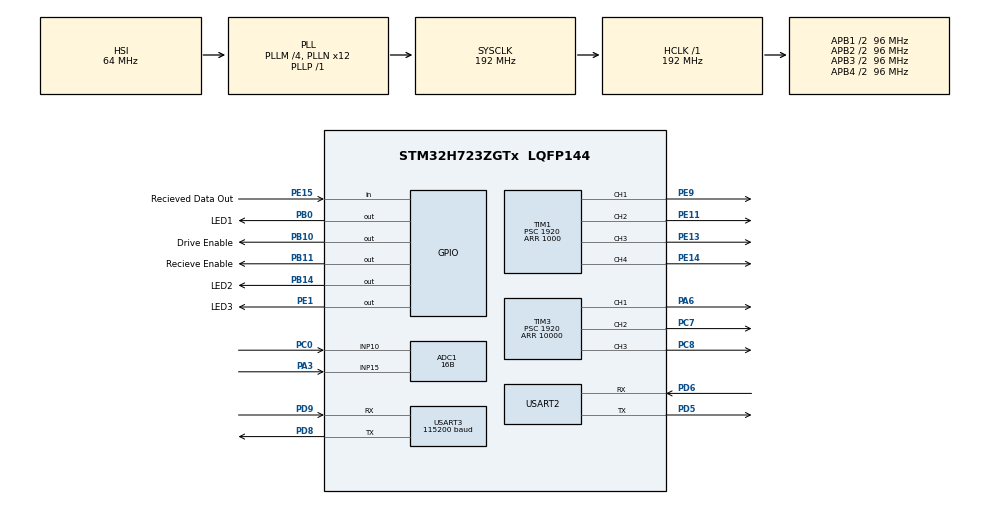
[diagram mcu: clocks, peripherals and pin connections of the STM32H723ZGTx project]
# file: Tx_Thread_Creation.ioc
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ADC1.Channel-4\#ChannelRegularConversion=ADC_CHANNEL_10
ADC1.Channel-5\#ChannelRegularConversion=ADC_CHANNEL_15
ADC1.ContinuousConvMode=DISABLE
ADC1.ConversionDataManagement=ADC_CONVERSIONDATA_DMA_CIRCULAR
ADC1.DiscontinuousConvMode=DISABLE
ADC1.EOCSelection=ADC_EOC_SEQ_CONV
ADC1.EnableRegularConversion=ENABLE
ADC1.ExternalTrigConv=ADC_EXTERNALTRIG_T2_TRGO
ADC1.NbrOfConversion=2
ADC1.NbrOfConversionFlag=1
ADC1.OffsetNumber-4\#ChannelRegularConversion=ADC_OFFSET_NONE
ADC1.OffsetNumber-5\#ChannelRegularConversion=ADC_OFFSET_NONE
ADC1.Overrun=ADC_OVR_DATA_PRESERVED
ADC1.OversamplingMode=DISABLE
ADC1.Rank-4\#ChannelRegularConversion=1
ADC1.Rank-5\#ChannelRegularConversion=2
ADC1.Resolution=ADC_RESOLUTION_16B
ADC1.SamplingTime-4\#ChannelRegularConversion=ADC_SAMPLETIME_64CYCLES_5
ADC1.SamplingTime-5\#ChannelRegularConversion=ADC_SAMPLETIME_64CYCLES_5
ADC1.master=1
CORTEX_M7.AccessPermission_Spec=MPU_REGION_FULL_ACCESS
CORTEX_M7.BaseAddress_Spec=0x38000000
CORTEX_M7.CPU_DCache=Enabled
CORTEX_M7.CPU_ICache=Enabled
CORTEX_M7.Enable_S-Cortex_Memory_Protection_Unit_Region1_Settings_S=__NULL
CORTEX_M7.Enable_Spec=MPU_REGION_ENABLE
CORTEX_M7.IsShareable_Spec=MPU_ACCESS_NOT_SHAREABLE
CORTEX_M7.Size_Spec=MPU_REGION_SIZE_16KB
CORTEX_M7.SubRegionDisable_Spec=0x0
CORTEX_M7.default_mode_Activation=1
Dma.ADC1.0.Direction=DMA_PERIPH_TO_MEMORY
Dma.ADC1.0.EventEnable=DISABLE
Dma.ADC1.0.FIFOMode=DMA_FIFOMODE_DISABLE
Dma.ADC1.0.Instance=DMA1_Stream1
Dma.ADC1.0.MemDataAlignment=DMA_MDATAALIGN_HALFWORD
Dma.ADC1.0.MemInc=DMA_MINC_ENABLE
Dma.ADC1.0.Mode=DMA_CIRCULAR
Dma.ADC1.0.PeriphDataAlignment=DMA_PDATAALIGN_HALFWORD
Dma.ADC1.0.PeriphInc=DMA_PINC_DISABLE
Dma.ADC1.0.Polarity=HAL_DMAMUX_REQ_GEN_RISING
Dma.ADC1.0.Priority=DMA_PRIORITY_LOW
Dma.ADC1.0.RequestNumber=1
Dma.ADC1.0.SignalID=NONE
Dma.ADC1.0.SyncEnable=DISABLE
Dma.ADC1.0.SyncPolarity=HAL_DMAMUX_SYNC_NO_EVENT
Dma.ADC1.0.SyncRequestNumber=1
Dma.ADC1.0.SyncSignalID=NONE
Dma.Request0=ADC1
Mcu.Family=STM32H7
Mcu.Name=STM32H723ZGTx
Mcu.Package=LQFP144
NVIC.DMA1_Stream1_IRQn=true\:0\:0\:false\:false\:true\:false\:false\:true\:true
NVIC.PriorityGroup=NVIC_PRIORITYGROUP_4
NVIC.TIM1_CC_IRQn=true\:0\:0\:false\:false\:true\:false\:true\:true\:true
NVIC.TIM1_TRG_COM_IRQn=true\:0\:0\:false\:false\:true\:false\:true\:true\:true
NVIC.TIM6_DAC_IRQn=true\:15\:0\:false\:false\:true\:false\:false\:true\:true
NVIC.TimeBase=TIM6_DAC_IRQn
NVIC.TimeBaseIP=TIM6
PA3.Signal=ADCx_INP15
PA6.Signal=S_TIM3_CH1
PB0.GPIO_Label=LED1
PB0.GPIO_PuPd=GPIO_NOPULL
PB0.GPIO_Speed=GPIO_SPEED_FREQ_VERY_HIGH
PB0.Signal=GPIO_Output
PB10.GPIO_Label=Drive Enable
PB10.Signal=GPIO_Output
PB11.GPIO_Label=Recieve Enable
PB11.Signal=GPIO_Output
PB14.GPIO_Label=LED2
PB14.GPIO_Speed=GPIO_SPEED_FREQ_VERY_HIGH
PB14.Signal=GPIO_Output
PC0.Signal=ADCx_INP10
PC7.Signal=S_TIM3_CH2
PC8.Signal=S_TIM3_CH3
PD5.Mode=Asynchronous
PD5.Signal=USART2_TX
PD6.Mode=Asynchronous
PD6.Signal=USART2_RX
PD8.Mode=Asynchronous
PD8.Signal=USART3_TX
PD9.GPIO_ModeDefaultPP=GPIO_MODE_AF_PP
PD9.GPIO_PuPd=GPIO_PULLUP
PD9.Mode=Asynchronous
PD9.Signal=USART3_RX
PE1.GPIO_Label=LED3
PE1.Signal=GPIO_Output
PE11.GPIO_PuPd=GPIO_PULLDOWN
PE11.GPIO_Speed=GPIO_SPEED_FREQ_HIGH
PE11.Signal=S_TIM1_CH2
PE13.GPIO_PuPd=GPIO_PULLDOWN
PE13.GPIO_Speed=GPIO_SPEED_FREQ_HIGH
PE13.Signal=S_TIM1_CH3
PE14.Signal=S_TIM1_CH4
PE15.GPIO_Label=Recieved Data Out
PE15.GPIO_PuPd=GPIO_PULLUP
PE15.Signal=GPIO_Input
PE9.GPIO_ModeDefaultPP=GPIO_MODE_AF_PP
PE9.GPIO_PuPd=GPIO_PULLDOWN
PE9.GPIO_Speed=GPIO_SPEED_FREQ_HIGH
PE9.Signal=S_TIM1_CH1
ProjectManager.HeapSize=0x200
ProjectManager.StackSize=0x400
ProjectManager.TargetToolchain=Makefile
RCC.ADCCLockSelection=RCC_ADCCLKSOURCE_PLL3
RCC.ADCFreq_Value=48000000
RCC.APB1Freq_Value=96000000
RCC.APB2Freq_Value=96000000
RCC.APB3Freq_Value=96000000
RCC.APB4Freq_Value=96000000
RCC.CortexFreq_Value=192000000
RCC.D1PPRE=RCC_APB3_DIV2
RCC.D2PPRE1=RCC_APB1_DIV2
RCC.D2PPRE2=RCC_APB2_DIV2
RCC.D3PPRE=RCC_APB4_DIV2
RCC.DIVM1=4
RCC.DIVM2=1
RCC.DIVM3=4
RCC.DIVN1=12
RCC.DIVN2=24
RCC.DIVN3=12
RCC.DIVP1=1
RCC.DIVR3=4
RCC.HCLKFreq_Value=192000000
RCC.HSE_VALUE=8000000
RCC.PLL1_VCO_SEL-AdvancedSettings=RCC_PLL1VCOMEDIUM
RCC.PLL2FRACN=0
RCC.PLL2_VCI_Range-AdvancedSettings=RCC_PLL2VCIRANGE_0
RCC.PLL3FRACN=0
RCC.PLL3_VCO_SEL-AdvancedSettings=RCC_PLL3VCOMEDIUM
RCC.PLLFRACN=0
RCC.SYSCLKFreq_VALUE=192000000
RCC.SYSCLKSource=RCC_SYSCLKSOURCE_PLLCLK
RCC.USBFreq_Value=96000000
SH.ADCx_INP10.0=ADC1_INP10,IN10-Single-Ended
SH.ADCx_INP15.0=ADC1_INP15,IN15-Single-Ended
SH.S_TIM1_CH1.0=TIM1_CH1,PWM Generation1 CH1
SH.S_TIM1_CH2.0=TIM1_CH2,PWM Generation2 CH2
SH.S_TIM1_CH3.0=TIM1_CH3,PWM Generation3 CH3
SH.S_TIM1_CH4.0=TIM1_CH4,PWM Generation4 CH4
SH.S_TIM3_CH1.0=TIM3_CH1,PWM Generation1 CH1
SH.S_TIM3_CH2.0=TIM3_CH2,PWM Generation2 CH2
SH.S_TIM3_CH3.0=TIM3_CH3,PWM Generation3 CH3
STMicroelectronics.X-CUBE-AZRTOS-H7.3.3.0.TX_APP_CREATION=1
STMicroelectronics.X-CUBE-AZRTOS-H7.3.3.0.TX_APP_GENERATE_INIT_CODE=true
STMicroelectronics.X-CUBE-AZRTOS-H7.3.3.0.TX_APP_MEM_POOL_SIZE=2*1024
STMicroelectronics.X-CUBE-AZRTOS-H7.3.3.0.TX_APP_THREAD_ENTRY=MainThread_Entry
STMicroelectronics.X-CUBE-AZRTOS-H7.3.3.0.TX_APP_THREAD_NAME=Main Thread
STMicroelectronics.X-CUBE-AZRTOS-H7.3.3.0.TX_APP_THREAD_PRIO=5
STMicroelectronics.X-CUBE-AZRTOS-H7.3.3.0.TX_DISABLE_PREEMPTION_THRESHOLD=0
STMicroelectronics.X-CUBE-AZRTOS-H7.3.3.0.ThreadXCcRTOSJjThreadXJjCore=true
STMicroelectronics.X-CUBE-AZRTOS-H7.3.3.0_IsAnAzureRtosMw=true
TIM1.AutoReloadPreload=TIM_AUTORELOAD_PRELOAD_ENABLE
TIM1.AutomaticOutput=TIM_AUTOMATICOUTPUT_DISABLE
TIM1.Channel-PWM\ Generation1\ CH1=TIM_CHANNEL_1
TIM1.Channel-PWM\ Generation2\ CH2=TIM_CHANNEL_2
TIM1.Channel-PWM\ Generation3\ CH3=TIM_CHANNEL_3
TIM1.Channel-PWM\ Generation4\ CH4=TIM_CHANNEL_4
TIM1.OCFastMode_PWM-PWM\ Generation1\ CH1=TIM_OCFAST_ENABLE
TIM1.OCIdleState_1=TIM_OCIDLESTATE_SET
TIM1.Period=1000
TIM1.Prescaler=1920
TIM1.Pulse-PWM\ Generation1\ CH1=250
TIM1.Pulse-PWM\ Generation2\ CH2=500
TIM1.Pulse-PWM\ Generation3\ CH3=750
TIM1.Pulse-PWM\ Generation4\ CH4=500
TIM1.TIM_MasterOutputTrigger=TIM_TRGO_RESET
TIM1.TIM_MasterSlaveMode=TIM_MASTERSLAVEMODE_DISABLE
TIM2.Period=1000
TIM2.Prescaler=19200
TIM2.TIM_MasterOutputTrigger=TIM_TRGO_UPDATE
TIM3.Channel-PWM\ Generation1\ CH1=TIM_CHANNEL_1
TIM3.Channel-PWM\ Generation2\ CH2=TIM_CHANNEL_2
TIM3.Channel-PWM\ Generation3\ CH3=TIM_CHANNEL_3
TIM3.Period=10000
TIM3.Prescaler=1920
TIM3.Pulse-PWM\ Generation2\ CH2=1000
USART2.VirtualMode-Asynchronous=VM_ASYNC
USART3.BaudRate=115200
USART3.Parity=PARITY_NONE
USART3.VirtualMode-Asynchronous=VM_ASYNC
VP_MEMORYMAP_VS_MEMORYMAP.Mode=CurAppReg
VP_STMicroelectronics.X-CUBE-AZRTOS-H7_VS_RTOSJjThreadX_6.4.0_3.3.0.Mode=RTOSJjThreadX
VP_SYS_VS_tim6.Mode=TIM6
VP_TIM1_VS_ClockSourceINT.Mode=Internal
VP_TIM2_VS_ClockSourceINT.Mode=Internal
VP_TIM3_VS_ClockSourceINT.Mode=Internal
board=NUCLEO-H723ZG

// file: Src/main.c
/* USER CODE BEGIN Header */
/**
  ******************************************************************************
  * @file    ThreadX/Tx_Thread_Creation/Src/main.c
  * @author  MCD Application Team
  * @brief   Main program body
  ******************************************************************************
  * @attention
  *
  * Copyright (c) 2020-2021 STMicroelectronics.
  * All rights reserved.
  *
  * This software is licensed under terms that can be found in the LICENSE file
  * in the root directory of this software component.
  * If no LICENSE file comes with this software, it is provided AS-IS.
  *
  ******************************************************************************
  */
/* USER CODE END Header */
#include "app_threadx.h"
#include "main.h"

/* USER CODE BEGIN Includes */
#include "tx_api.h"
#include "tasks.h"
#include <stdio.h>
#if defined(__ICCARM__)
#include <LowLevelIOInterface.h>
#endif /* __ICCARM__ */
/* USER CODE END Includes */

/* USER CODE BEGIN PM */

#if defined(__ICCARM__)
/* New definition from EWARM V9, compatible with EWARM8 */
int iar_fputc(int ch);
#define PUTCHAR_PROTOTYPE int iar_fputc(int ch)
#elif defined ( __CC_ARM ) || defined(__ARMCC_VERSION)
/* ARM Compiler 5/6*/
#define PUTCHAR_PROTOTYPE int fputc(int ch, FILE *f)
#elif defined(__GNUC__)
#define PUTCHAR_PROTOTYPE int __io_putchar(int ch)
#endif /* __ICCARM__ */

/* USER CODE END PM */

ADC_HandleTypeDef hadc1;
DMA_HandleTypeDef hdma_adc1;

TIM_HandleTypeDef htim1;
TIM_HandleTypeDef htim2;
TIM_HandleTypeDef htim3;

UART_HandleTypeDef huart2;
UART_HandleTypeDef huart3;

void SystemClock_Config(void);
static void MPU_Config(void);
static void MX_GPIO_Init(void);
static void MX_DMA_Init(void);
static void MX_USART3_UART_Init(void);
static void MX_USART2_UART_Init(void);
static void MX_TIM1_Init(void);
static void MX_ADC1_Init(void);
static void MX_TIM2_Init(void);
static void MX_TIM3_Init(void);
/* USER CODE BEGIN PFP */

TIM_HandleTypeDef* timers[3] = {&htim1, &htim2, &htim3};

void CallMainThread(void) {MainThread(&huart2, &htim1, &hadc1);}
void CallThreadOne(void)  {ServoControl(&hadc1, timers);}
void CallThreadTwo(void)  {ExtraThread();}

/* USER CODE END PFP */

int main(void)
{

  /* MPU Configuration--------------------------------------------------------*/
  MPU_Config();

  /* Enable the CPU Cache */

  /* Enable I-Cache---------------------------------------------------------*/
  SCB_EnableICache();

  /* Enable D-Cache---------------------------------------------------------*/
  SCB_EnableDCache();

  /* MCU Configuration--------------------------------------------------------*/

  /* Reset of all peripherals, Initializes the Flash interface and the Systick. */
  HAL_Init();

  /* Configure the system clock */
  SystemClock_Config();

  /* Initialize all configured peripherals */
  MX_GPIO_Init();
  MX_DMA_Init();
  MX_USART3_UART_Init();
  MX_USART2_UART_Init();
  MX_TIM1_Init();
  MX_ADC1_Init();
  MX_TIM2_Init();
  MX_TIM3_Init();

  MX_ThreadX_Init();

  /* We should never get here as control is now taken by the scheduler */

  /* Infinite loop */
  while (1)
  {

  }
}

void SystemClock_Config(void)
{
  RCC_OscInitTypeDef RCC_OscInitStruct = {0};
  RCC_ClkInitTypeDef RCC_ClkInitStruct = {0};

  /** Supply configuration update enable
  */
  HAL_PWREx_ConfigSupply(PWR_LDO_SUPPLY);

  /** Configure the main internal regulator output voltage
  */
  __HAL_PWR_VOLTAGESCALING_CONFIG(PWR_REGULATOR_VOLTAGE_SCALE1);

  while(!__HAL_PWR_GET_FLAG(PWR_FLAG_VOSRDY)) {}

  /** Initializes the RCC Oscillators according to the specified parameters
  * in the RCC_OscInitTypeDef structure.
  */
  RCC_OscInitStruct.OscillatorType = RCC_OSCILLATORTYPE_HSI;
  RCC_OscInitStruct.HSIState = RCC_HSI_DIV1;
  RCC_OscInitStruct.HSICalibrationValue = 64;
  RCC_OscInitStruct.PLL.PLLState = RCC_PLL_ON;
  RCC_OscInitStruct.PLL.PLLSource = RCC_PLLSOURCE_HSI;
  RCC_OscInitStruct.PLL.PLLM = 4;
  RCC_OscInitStruct.PLL.PLLN = 12;
  RCC_OscInitStruct.PLL.PLLP = 1;
  RCC_OscInitStruct.PLL.PLLQ = 2;
  RCC_OscInitStruct.PLL.PLLR = 2;
  RCC_OscInitStruct.PLL.PLLRGE = RCC_PLL1VCIRANGE_3;
  RCC_OscInitStruct.PLL.PLLVCOSEL = RCC_PLL1VCOWIDE;
  RCC_OscInitStruct.PLL.PLLFRACN = 0;
  if (HAL_RCC_OscConfig(&RCC_OscInitStruct) != HAL_OK)
  {
    Error_Handler();
  }

  /** Initializes the CPU, AHB and APB buses clocks
  */
  RCC_ClkInitStruct.ClockType = RCC_CLOCKTYPE_HCLK|RCC_CLOCKTYPE_SYSCLK
                              |RCC_CLOCKTYPE_PCLK1|RCC_CLOCKTYPE_PCLK2
                              |RCC_CLOCKTYPE_D3PCLK1|RCC_CLOCKTYPE_D1PCLK1;
  RCC_ClkInitStruct.SYSCLKSource = RCC_SYSCLKSOURCE_PLLCLK;
  RCC_ClkInitStruct.SYSCLKDivider = RCC_SYSCLK_DIV1;
  RCC_ClkInitStruct.AHBCLKDivider = RCC_HCLK_DIV1;
  RCC_ClkInitStruct.APB3CLKDivider = RCC_APB3_DIV2;
  RCC_ClkInitStruct.APB1CLKDivider = RCC_APB1_DIV2;
  RCC_ClkInitStruct.APB2CLKDivider = RCC_APB2_DIV2;
  RCC_ClkInitStruct.APB4CLKDivider = RCC_APB4_DIV2;

  if (HAL_RCC_ClockConfig(&RCC_ClkInitStruct, FLASH_LATENCY_2) != HAL_OK)
  {
    Error_Handler();
  }
}

static void MX_ADC1_Init(void)
{

  ADC_MultiModeTypeDef multimode = {0};
  ADC_ChannelConfTypeDef sConfig = {0};

  /** Common config
  */
  hadc1.Instance = ADC1;
  hadc1.Init.ClockPrescaler = ADC_CLOCK_ASYNC_DIV1;
  hadc1.Init.Resolution = ADC_RESOLUTION_16B;
  hadc1.Init.ScanConvMode = ADC_SCAN_ENABLE;
  hadc1.Init.EOCSelection = ADC_EOC_SEQ_CONV;
  hadc1.Init.LowPowerAutoWait = DISABLE;
  hadc1.Init.ContinuousConvMode = DISABLE;
  hadc1.Init.NbrOfConversion = 2;
  hadc1.Init.DiscontinuousConvMode = DISABLE;
  hadc1.Init.ExternalTrigConv = ADC_EXTERNALTRIG_T2_TRGO;
  hadc1.Init.ExternalTrigConvEdge = ADC_EXTERNALTRIGCONVEDGE_RISING;
  hadc1.Init.ConversionDataManagement = ADC_CONVERSIONDATA_DMA_CIRCULAR;
  hadc1.Init.Overrun = ADC_OVR_DATA_PRESERVED;
  hadc1.Init.LeftBitShift = ADC_LEFTBITSHIFT_NONE;
  hadc1.Init.OversamplingMode = DISABLE;
  hadc1.Init.Oversampling.Ratio = 1;
  if (HAL_ADC_Init(&hadc1) != HAL_OK)
  {
    Error_Handler();
  }

  /** Configure the ADC multi-mode
  */
  multimode.Mode = ADC_MODE_INDEPENDENT;
  if (HAL_ADCEx_MultiModeConfigChannel(&hadc1, &multimode) != HAL_OK)
  {
    Error_Handler();
  }

  /** Configure Regular Channel
  */
  sConfig.Channel = ADC_CHANNEL_10;
  sConfig.Rank = ADC_REGULAR_RANK_1;
  sConfig.SamplingTime = ADC_SAMPLETIME_64CYCLES_5;
  sConfig.SingleDiff = ADC_SINGLE_ENDED;
  sConfig.OffsetNumber = ADC_OFFSET_NONE;
  sConfig.Offset = 0;
  sConfig.OffsetSignedSaturation = DISABLE;
  if (HAL_ADC_ConfigChannel(&hadc1, &sConfig) != HAL_OK)
  {
    Error_Handler();
  }

  /** Configure Regular Channel
  */
  sConfig.Channel = ADC_CHANNEL_15;
  sConfig.Rank = ADC_REGULAR_RANK_2;
  if (HAL_ADC_ConfigChannel(&hadc1, &sConfig) != HAL_OK)
  {
    Error_Handler();
  }

}

static void MX_TIM1_Init(void)
{

  TIM_ClockConfigTypeDef sClockSourceConfig = {0};
  TIM_MasterConfigTypeDef sMasterConfig = {0};
  TIM_OC_InitTypeDef sConfigOC = {0};
  TIM_BreakDeadTimeConfigTypeDef sBreakDeadTimeConfig = {0};

  htim1.Instance = TIM1;
  htim1.Init.Prescaler = 1920;
  htim1.Init.CounterMode = TIM_COUNTERMODE_UP;
  htim1.Init.Period = 1000;
  htim1.Init.ClockDivision = TIM_CLOCKDIVISION_DIV1;
  htim1.Init.RepetitionCounter = 0;
  htim1.Init.AutoReloadPreload = TIM_AUTORELOAD_PRELOAD_ENABLE;
  if (HAL_TIM_Base_Init(&htim1) != HAL_OK)
  {
    Error_Handler();
  }
  sClockSourceConfig.ClockSource = TIM_CLOCKSOURCE_INTERNAL;
  if (HAL_TIM_ConfigClockSource(&htim1, &sClockSourceConfig) != HAL_OK)
  {
    Error_Handler();
  }
  if (HAL_TIM_PWM_Init(&htim1) != HAL_OK)
  {
    Error_Handler();
  }
  sMasterConfig.MasterOutputTrigger = TIM_TRGO_RESET;
  sMasterConfig.MasterOutputTrigger2 = TIM_TRGO2_RESET;
  sMasterConfig.MasterSlaveMode = TIM_MASTERSLAVEMODE_DISABLE;
  if (HAL_TIMEx_MasterConfigSynchronization(&htim1, &sMasterConfig) != HAL_OK)
  {
    Error_Handler();
  }
  sConfigOC.OCMode = TIM_OCMODE_PWM1;
  sConfigOC.Pulse = 250;
  sConfigOC.OCPolarity = TIM_OCPOLARITY_HIGH;
  sConfigOC.OCNPolarity = TIM_OCNPOLARITY_HIGH;
  sConfigOC.OCFastMode = TIM_OCFAST_ENABLE;
  sConfigOC.OCIdleState = TIM_OCIDLESTATE_SET;
  sConfigOC.OCNIdleState = TIM_OCNIDLESTATE_RESET;
  if (HAL_TIM_PWM_ConfigChannel(&htim1, &sConfigOC, TIM_CHANNEL_1) != HAL_OK)
  {
    Error_Handler();
  }
  sConfigOC.Pulse = 500;
  sConfigOC.OCFastMode = TIM_OCFAST_DISABLE;
  sConfigOC.OCIdleState = TIM_OCIDLESTATE_RESET;
  if (HAL_TIM_PWM_ConfigChannel(&htim1, &sConfigOC, TIM_CHANNEL_2) != HAL_OK)
  {
    Error_Handler();
  }
  sConfigOC.Pulse = 750;
  if (HAL_TIM_PWM_ConfigChannel(&htim1, &sConfigOC, TIM_CHANNEL_3) != HAL_OK)
  {
    Error_Handler();
  }
  sConfigOC.Pulse = 500;
  if (HAL_TIM_PWM_ConfigChannel(&htim1, &sConfigOC, TIM_CHANNEL_4) != HAL_OK)
  {
    Error_Handler();
  }
  sBreakDeadTimeConfig.OffStateRunMode = TIM_OSSR_DISABLE;
  sBreakDeadTimeConfig.OffStateIDLEMode = TIM_OSSI_DISABLE;
  sBreakDeadTimeConfig.LockLevel = TIM_LOCKLEVEL_OFF;
  sBreakDeadTimeConfig.DeadTime = 0;
  sBreakDeadTimeConfig.BreakState = TIM_BREAK_DISABLE;
  sBreakDeadTimeConfig.BreakPolarity = TIM_BREAKPOLARITY_HIGH;
  sBreakDeadTimeConfig.BreakFilter = 0;
  sBreakDeadTimeConfig.Break2State = TIM_BREAK2_DISABLE;
  sBreakDeadTimeConfig.Break2Polarity = TIM_BREAK2POLARITY_HIGH;
  sBreakDeadTimeConfig.Break2Filter = 0;
  sBreakDeadTimeConfig.AutomaticOutput = TIM_AUTOMATICOUTPUT_DISABLE;
  if (HAL_TIMEx_ConfigBreakDeadTime(&htim1, &sBreakDeadTimeConfig) != HAL_OK)
  {
    Error_Handler();
  }
  HAL_TIM_MspPostInit(&htim1);

}

static void MX_TIM2_Init(void)
{

  TIM_ClockConfigTypeDef sClockSourceConfig = {0};
  TIM_MasterConfigTypeDef sMasterConfig = {0};

  htim2.Instance = TIM2;
  htim2.Init.Prescaler = 19200;
  htim2.Init.CounterMode = TIM_COUNTERMODE_UP;
  htim2.Init.Period = 1000;
  htim2.Init.ClockDivision = TIM_CLOCKDIVISION_DIV1;
  htim2.Init.AutoReloadPreload = TIM_AUTORELOAD_PRELOAD_DISABLE;
  if (HAL_TIM_Base_Init(&htim2) != HAL_OK)
  {
    Error_Handler();
  }
  sClockSourceConfig.ClockSource = TIM_CLOCKSOURCE_INTERNAL;
  if (HAL_TIM_ConfigClockSource(&htim2, &sClockSourceConfig) != HAL_OK)
  {
    Error_Handler();
  }
  sMasterConfig.MasterOutputTrigger = TIM_TRGO_UPDATE;
  sMasterConfig.MasterSlaveMode = TIM_MASTERSLAVEMODE_DISABLE;
  if (HAL_TIMEx_MasterConfigSynchronization(&htim2, &sMasterConfig) != HAL_OK)
  {
    Error_Handler();
  }

}

static void MX_TIM3_Init(void)
{

  TIM_ClockConfigTypeDef sClockSourceConfig = {0};
  TIM_MasterConfigTypeDef sMasterConfig = {0};
  TIM_OC_InitTypeDef sConfigOC = {0};

  htim3.Instance = TIM3;
  htim3.Init.Prescaler = 192;
  htim3.Init.CounterMode = TIM_COUNTERMODE_UP;
  htim3.Init.Period = 1000;
  htim3.Init.ClockDivision = TIM_CLOCKDIVISION_DIV1;
  htim3.Init.AutoReloadPreload = TIM_AUTORELOAD_PRELOAD_DISABLE;
  if (HAL_TIM_Base_Init(&htim3) != HAL_OK)
  {
    Error_Handler();
  }
  sClockSourceConfig.ClockSource = TIM_CLOCKSOURCE_INTERNAL;
  if (HAL_TIM_ConfigClockSource(&htim3, &sClockSourceConfig) != HAL_OK)
  {
    Error_Handler();
  }
  if (HAL_TIM_PWM_Init(&htim3) != HAL_OK)
  {
    Error_Handler();
  }
  sMasterConfig.MasterOutputTrigger = TIM_TRGO_RESET;
  sMasterConfig.MasterSlaveMode = TIM_MASTERSLAVEMODE_DISABLE;
  if (HAL_TIMEx_MasterConfigSynchronization(&htim3, &sMasterConfig) != HAL_OK)
  {
    Error_Handler();
  }
  sConfigOC.OCMode = TIM_OCMODE_PWM1;
  sConfigOC.Pulse = 0;
  sConfigOC.OCPolarity = TIM_OCPOLARITY_HIGH;
  sConfigOC.OCFastMode = TIM_OCFAST_DISABLE;
  if (HAL_TIM_PWM_ConfigChannel(&htim3, &sConfigOC, TIM_CHANNEL_1) != HAL_OK)
  {
    Error_Handler();
  }
  sConfigOC.Pulse = 200;
  if (HAL_TIM_PWM_ConfigChannel(&htim3, &sConfigOC, TIM_CHANNEL_2) != HAL_OK)
  {
    Error_Handler();
  }
  sConfigOC.Pulse = 0;
  if (HAL_TIM_PWM_ConfigChannel(&htim3, &sConfigOC, TIM_CHANNEL_3) != HAL_OK)
  {
    Error_Handler();
  }
  HAL_TIM_MspPostInit(&htim3);

}

static void MX_USART2_UART_Init(void)
{

  huart2.Instance = USART2;
  huart2.Init.BaudRate = 115200;
  huart2.Init.WordLength = UART_WORDLENGTH_8B;
  huart2.Init.StopBits = UART_STOPBITS_1;
  huart2.Init.Parity = UART_PARITY_NONE;
  huart2.Init.Mode = UART_MODE_TX_RX;
  huart2.Init.HwFlowCtl = UART_HWCONTROL_NONE;
  huart2.Init.OverSampling = UART_OVERSAMPLING_16;
  huart2.Init.OneBitSampling = UART_ONE_BIT_SAMPLE_DISABLE;
  huart2.Init.ClockPrescaler = UART_PRESCALER_DIV1;
  huart2.AdvancedInit.AdvFeatureInit = UART_ADVFEATURE_NO_INIT;
  if (HAL_UART_Init(&huart2) != HAL_OK)
  {
    Error_Handler();
  }
  if (HAL_UARTEx_SetTxFifoThreshold(&huart2, UART_TXFIFO_THRESHOLD_1_8) != HAL_OK)
  {
    Error_Handler();
  }
  if (HAL_UARTEx_SetRxFifoThreshold(&huart2, UART_RXFIFO_THRESHOLD_1_8) != HAL_OK)
  {
    Error_Handler();
  }
  if (HAL_UARTEx_DisableFifoMode(&huart2) != HAL_OK)
  {
    Error_Handler();
  }

}

static void MX_USART3_UART_Init(void)
{

  huart3.Instance = USART3;
  huart3.Init.BaudRate = 115200;
  huart3.Init.WordLength = UART_WORDLENGTH_8B;
  huart3.Init.StopBits = UART_STOPBITS_1;
  huart3.Init.Parity = UART_PARITY_NONE;
  huart3.Init.Mode = UART_MODE_TX_RX;
  huart3.Init.HwFlowCtl = UART_HWCONTROL_NONE;
  huart3.Init.OverSampling = UART_OVERSAMPLING_16;
  huart3.Init.OneBitSampling = UART_ONE_BIT_SAMPLE_DISABLE;
  huart3.Init.ClockPrescaler = UART_PRESCALER_DIV1;
  huart3.AdvancedInit.AdvFeatureInit = UART_ADVFEATURE_NO_INIT;
  if (HAL_UART_Init(&huart3) != HAL_OK)
  {
    Error_Handler();
  }
  if (HAL_UARTEx_SetTxFifoThreshold(&huart3, UART_TXFIFO_THRESHOLD_1_8) != HAL_OK)
  {
    Error_Handler();
  }
  if (HAL_UARTEx_SetRxFifoThreshold(&huart3, UART_RXFIFO_THRESHOLD_1_8) != HAL_OK)
  {
    Error_Handler();
  }
  if (HAL_UARTEx_DisableFifoMode(&huart3) != HAL_OK)
  {
    Error_Handler();
  }

}

static void MX_DMA_Init(void)
{

  /* DMA controller clock enable */
  __HAL_RCC_DMA1_CLK_ENABLE();

  /* DMA interrupt init */
  /* DMA1_Stream1_IRQn interrupt configuration */
  HAL_NVIC_SetPriority(DMA1_Stream1_IRQn, 0, 0);
  HAL_NVIC_EnableIRQ(DMA1_Stream1_IRQn);

}

static void MX_GPIO_Init(void)
{
  GPIO_InitTypeDef GPIO_InitStruct = {0};

  /* GPIO Ports Clock Enable */
  __HAL_RCC_GPIOC_CLK_ENABLE();
  __HAL_RCC_GPIOA_CLK_ENABLE();
  __HAL_RCC_GPIOB_CLK_ENABLE();
  __HAL_RCC_GPIOE_CLK_ENABLE();
  __HAL_RCC_GPIOD_CLK_ENABLE();

  /*Configure GPIO pin Output Level */
  HAL_GPIO_WritePin(GPIOB, LED1_Pin|Drive_Enable_Pin|Recieve_Enable_Pin|LED2_Pin, GPIO_PIN_RESET);

  /*Configure GPIO pin Output Level */
  HAL_GPIO_WritePin(LED3_GPIO_Port, LED3_Pin, GPIO_PIN_RESET);

  /*Configure GPIO pins : LED1_Pin LED2_Pin */
  GPIO_InitStruct.Pin = LED1_Pin|LED2_Pin;
  GPIO_InitStruct.Mode = GPIO_MODE_OUTPUT_PP;
  GPIO_InitStruct.Pull = GPIO_NOPULL;
  GPIO_InitStruct.Speed = GPIO_SPEED_FREQ_VERY_HIGH;
  HAL_GPIO_Init(GPIOB, &GPIO_InitStruct);

  /*Configure GPIO pin : Recieved_Data_Out_Pin */
  GPIO_InitStruct.Pin = Recieved_Data_Out_Pin;
  GPIO_InitStruct.Mode = GPIO_MODE_INPUT;
  GPIO_InitStruct.Pull = GPIO_PULLUP;
  HAL_GPIO_Init(Recieved_Data_Out_GPIO_Port, &GPIO_InitStruct);

  /*Configure GPIO pins : Drive_Enable_Pin Recieve_Enable_Pin */
  GPIO_InitStruct.Pin = Drive_Enable_Pin|Recieve_Enable_Pin;
  GPIO_InitStruct.Mode = GPIO_MODE_OUTPUT_PP;
  GPIO_InitStruct.Pull = GPIO_NOPULL;
  GPIO_InitStruct.Speed = GPIO_SPEED_FREQ_LOW;
  HAL_GPIO_Init(GPIOB, &GPIO_InitStruct);

  /*Configure GPIO pin : LED3_Pin */
  GPIO_InitStruct.Pin = LED3_Pin;
  GPIO_InitStruct.Mode = GPIO_MODE_OUTPUT_PP;
  GPIO_InitStruct.Pull = GPIO_NOPULL;
  GPIO_InitStruct.Speed = GPIO_SPEED_FREQ_LOW;
  HAL_GPIO_Init(LED3_GPIO_Port, &GPIO_InitStruct);

}

/* USER CODE BEGIN 4 */

#if defined(__ICCARM__)
size_t __write(int file, unsigned char const *ptr, size_t len)
{
 size_t idx;
 unsigned char const *pdata = ptr;

 for (idx = 0; idx < len; idx++)
 {
 iar_fputc((int)*pdata);
 pdata++;
 }
 return len;
}
#endif /* __ICCARM__ */

PUTCHAR_PROTOTYPE
{
  /* Place your implementation of fputc here */
  /* e.g. write a character to the USART3 and Loop until the end of transmission */
  HAL_UART_Transmit(&huart3, (uint8_t *)&ch, 1, 0xFFFF);

  return ch;
}

/* USER CODE END 4 */

 /* MPU Configuration */

void MPU_Config(void)
{
  MPU_Region_InitTypeDef MPU_InitStruct = {0};

  /* Disables the MPU */
  HAL_MPU_Disable();

  /** Initializes and configures the Region and the memory to be protected
  */
  MPU_InitStruct.Enable = MPU_REGION_ENABLE;
  MPU_InitStruct.Number = MPU_REGION_NUMBER0;
  MPU_InitStruct.BaseAddress = 0x38000000;
  MPU_InitStruct.Size = MPU_REGION_SIZE_16KB;
  MPU_InitStruct.SubRegionDisable = 0x0;
  MPU_InitStruct.TypeExtField = MPU_TEX_LEVEL0;
  MPU_InitStruct.AccessPermission = MPU_REGION_FULL_ACCESS;
  MPU_InitStruct.DisableExec = MPU_INSTRUCTION_ACCESS_DISABLE;
  MPU_InitStruct.IsShareable = MPU_ACCESS_NOT_SHAREABLE;
  MPU_InitStruct.IsCacheable = MPU_ACCESS_NOT_CACHEABLE;
  MPU_InitStruct.IsBufferable = MPU_ACCESS_NOT_BUFFERABLE;

  HAL_MPU_ConfigRegion(&MPU_InitStruct);
  /* Enables the MPU */
  HAL_MPU_Enable(MPU_PRIVILEGED_DEFAULT);

}

void HAL_TIM_PeriodElapsedCallback(TIM_HandleTypeDef *htim)
{
  if (htim->Instance == TIM6) {
    HAL_IncTick();
  }
}

void Error_Handler(void)
{
  /* USER CODE BEGIN Error_Handler_Debug */
  HAL_GPIO_WritePin(LED1_GPIO_Port, LED1_Pin, GPIO_PIN_RESET);
  /* Error message */
  printf("** Error occurred ** \n\r");
  while (1)
  {
    HAL_GPIO_TogglePin(LED2_GPIO_Port, LED2_Pin);
    HAL_Delay(1000);
  }
  /* USER CODE END Error_Handler_Debug */
}
